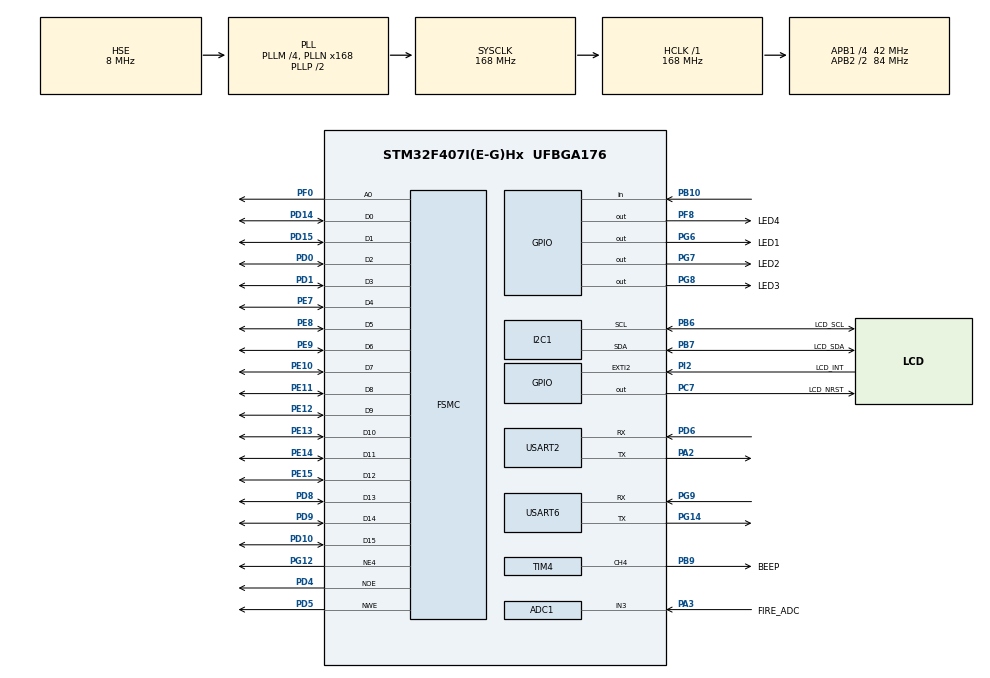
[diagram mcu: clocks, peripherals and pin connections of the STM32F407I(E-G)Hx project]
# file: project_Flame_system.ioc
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ADC1.Channel-1\#ChannelRegularConversion=ADC_CHANNEL_3
ADC1.NbrOfConversionFlag=1
ADC1.Rank-1\#ChannelRegularConversion=1
ADC1.SamplingTime-1\#ChannelRegularConversion=ADC_SAMPLETIME_3CYCLES
ADC1.master=1
FREERTOS.Tasks01=defaultTask,0,128,StartDefaultTask,Default,NULL,Dynamic,NULL,NULL
FREERTOS.Tasks02=lvglTask,2,1024,StartLvglTask,Default,NULL,Dynamic,NULL,NULL
FREERTOS.Tasks03=flameTask,3,512,StartFlameTask,Default,NULL,Dynamic,NULL,NULL
FREERTOS.Tasks04=cmdTask,4,1024,StartCmdTask,Default,NULL,Dynamic,NULL,NULL
FREERTOS.configUSE_NEWLIB_REENTRANT=1
FSMC.AddressSetupTime1=3
FSMC.BusTurnAroundDuration1=3
FSMC.DataSetupTime1=2
IWDG.Prescaler=IWDG_PRESCALER_256
IWDG.Reload=625
Mcu.Family=STM32F4
Mcu.Name=STM32F407I(E-G)Hx
Mcu.Package=UFBGA176
NVIC.EXTI2_IRQn=true\:3\:0\:false\:false\:true\:true\:true\:true\:true
NVIC.PriorityGroup=NVIC_PRIORITYGROUP_4
NVIC.TIM6_DAC_IRQn=true\:5\:0\:false\:false\:true\:true\:true\:true\:true
NVIC.TIM7_IRQn=true\:15\:0\:false\:false\:true\:false\:false\:true\:true
NVIC.TimeBase=TIM7_IRQn
NVIC.TimeBaseIP=TIM7
NVIC.USART2_IRQn=true\:5\:0\:false\:false\:true\:true\:true\:true\:true
PA2.Mode=Asynchronous
PA2.Signal=USART2_TX
PA3.GPIO_Label=FIRE_ADC
PA3.Signal=ADCx_IN3
PB10.Signal=GPIO_Input
PB6.GPIO_Label=LCD_SCL
PB6.Mode=I2C
PB6.Signal=I2C1_SCL
PB7.GPIO_Label=LCD_SDA
PB7.Mode=I2C
PB7.Signal=I2C1_SDA
PB9.GPIO_Label=BEEP
PB9.Signal=S_TIM4_CH4
PC7.GPIO_Label=LCD_NRST
PC7.Signal=GPIO_Output
PD0.Signal=FSMC_D2_DA2
PD1.Signal=FSMC_D3_DA3
PD10.Signal=FSMC_D15_DA15
PD14.Signal=FSMC_D0_DA0
PD15.Signal=FSMC_D1_DA1
PD4.Signal=FSMC_NOE
PD5.Signal=FSMC_NWE
PD6.Mode=Asynchronous
PD6.Signal=USART2_RX
PD8.Signal=FSMC_D13_DA13
PD9.Signal=FSMC_D14_DA14
PE10.Signal=FSMC_D7_DA7
PE11.Signal=FSMC_D8_DA8
PE12.Signal=FSMC_D9_DA9
PE13.Signal=FSMC_D10_DA10
PE14.Signal=FSMC_D11_DA11
PE15.Signal=FSMC_D12_DA12
PE7.Signal=FSMC_D4_DA4
PE8.Signal=FSMC_D5_DA5
PE9.Signal=FSMC_D6_DA6
PF0.Signal=FSMC_A0
PF8.GPIO_Label=LED4
PF8.Signal=GPIO_Output
PG12.Mode=NorPsramChipSelect4_1
PG12.Signal=FSMC_NE4
PG14.Mode=Asynchronous
PG14.Signal=USART6_TX
PG6.GPIO_Label=LED1
PG6.Signal=GPIO_Output
PG7.GPIO_Label=LED2
PG7.Signal=GPIO_Output
PG8.GPIO_Label=LED3
PG8.Signal=GPIO_Output
PG9.Mode=Asynchronous
PG9.Signal=USART6_RX
PH0-OSC_IN.Mode=HSE-External-Oscillator
PH0-OSC_IN.Signal=RCC_OSC_IN
PH1-OSC_OUT.Mode=HSE-External-Oscillator
PH1-OSC_OUT.Signal=RCC_OSC_OUT
PI2.GPIO_Label=LCD_INT
PI2.GPIO_ModeDefaultEXTI=GPIO_MODE_IT_FALLING
PI2.Signal=GPXTI2
ProjectManager.HeapSize=0x400
ProjectManager.StackSize=0x800
ProjectManager.TargetToolchain=STM32CubeIDE
RCC.48MHZClocksFreq_Value=84000000
RCC.AHBFreq_Value=168000000
RCC.APB1CLKDivider=RCC_HCLK_DIV4
RCC.APB1Freq_Value=42000000
RCC.APB1TimFreq_Value=84000000
RCC.APB2CLKDivider=RCC_HCLK_DIV2
RCC.APB2Freq_Value=84000000
RCC.APB2TimFreq_Value=168000000
RCC.CortexFreq_Value=168000000
RCC.HCLKFreq_Value=168000000
RCC.HSE_VALUE=8000000
RCC.HSI_VALUE=16000000
RCC.LSE_VALUE=32768
RCC.PLLM=4
RCC.PLLN=168
RCC.PLLSourceVirtual=RCC_PLLSOURCE_HSE
RCC.SYSCLKFreq_VALUE=168000000
RCC.SYSCLKSource=RCC_SYSCLKSOURCE_PLLCLK
RCC.VCOOutputFreq_Value=336000000
SH.ADCx_IN3.0=ADC1_IN3,IN3
SH.FSMC_A0.0=FSMC_A0,A0_1
SH.FSMC_D0_DA0.0=FSMC_D0,16b-d1
SH.FSMC_D10_DA10.0=FSMC_D10,16b-d1
SH.FSMC_D11_DA11.0=FSMC_D11,16b-d1
SH.FSMC_D12_DA12.0=FSMC_D12,16b-d1
SH.FSMC_D13_DA13.0=FSMC_D13,16b-d1
SH.FSMC_D14_DA14.0=FSMC_D14,16b-d1
SH.FSMC_D15_DA15.0=FSMC_D15,16b-d1
SH.FSMC_D1_DA1.0=FSMC_D1,16b-d1
SH.FSMC_D2_DA2.0=FSMC_D2,16b-d1
SH.FSMC_D3_DA3.0=FSMC_D3,16b-d1
SH.FSMC_D4_DA4.0=FSMC_D4,16b-d1
SH.FSMC_D5_DA5.0=FSMC_D5,16b-d1
SH.FSMC_D6_DA6.0=FSMC_D6,16b-d1
SH.FSMC_D7_DA7.0=FSMC_D7,16b-d1
SH.FSMC_D8_DA8.0=FSMC_D8,16b-d1
SH.FSMC_D9_DA9.0=FSMC_D9,16b-d1
SH.FSMC_NOE.0=FSMC_NOE,Lcd1
SH.FSMC_NWE.0=FSMC_NWE,Lcd1
SH.S_TIM4_CH4.0=TIM4_CH4,PWM Generation4 CH4
TIM4.AutoReloadPreload=TIM_AUTORELOAD_PRELOAD_ENABLE
TIM4.Channel-PWM\ Generation4\ CH4=TIM_CHANNEL_4
TIM4.Period=100
TIM4.Prescaler=83
TIM6.AutoReloadPreload=TIM_AUTORELOAD_PRELOAD_ENABLE
TIM6.Period=1000
TIM6.Prescaler=83
USART2.VirtualMode=VM_ASYNC
USART6.VirtualMode=VM_ASYNC
VP_FREERTOS_VS_CMSIS_V1.Mode=CMSIS_V1
VP_IWDG_VS_IWDG.Mode=IWDG_Activate
VP_SYS_VS_tim7.Mode=TIM7
VP_TIM6_VS_ClockSourceINT.Mode=Enable_Timer
board=custom

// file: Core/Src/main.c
/* USER CODE BEGIN Header */
/**
  ******************************************************************************
  * @file           : main.c
  * @brief          : Main program body
  ******************************************************************************
  * @attention
  *
  * Copyright (c) 2024 STMicroelectronics.
  * All rights reserved.
  *
  * This software is licensed under terms that can be found in the LICENSE file
  * in the root directory of this software component.
  * If no LICENSE file comes with this software, it is provided AS-IS.
  *
  ******************************************************************************
  */
/* USER CODE END Header */
#include "main.h"
#include "cmsis_os.h"
#include "adc.h"
#include "i2c.h"
#include "tim.h"
#include "usart.h"
#include "gpio.h"
#include "fsmc.h"
//#include "iwdg.h"

/* USER CODE BEGIN Includes */
#include "stdio.h"
#include "../LVGL/lvgl.h"
#include "../touch/lcd_touch.h"
#include "../UI/UI.h"
#include "../LVGL/porting/lv_port_disp.h"
#include "../LVGL/porting/lv_port_indev.h"
#include "../esp8266/esp8266.h"
#include "../App/app_onenet_mqtt.h"
#include "../Middlewares/EmbATlink/at_driver.h"
#include "../cJSON/cJSON.h"
/* USER CODE END Includes */

void SystemClock_Config(void);
void MX_FREERTOS_Init(void);

/* USER CODE BEGIN 0 */
__IO uint32_t I2CTimeout = I2C_Open_FLAG_TIMEOUT;

extern char CurrentMode;
extern struct ThresholdT_t Getthreshold;
extern char ThresholdCommit;

char recv_at[256] = {0};
char recv_at_cmd[256] = {0};
volatile uint8_t recv_finish = 0;
volatile uint32_t count = 0;
uint16_t flame_val;
uint16_t flame_valIO;
volatile uint8_t cmdflag = 0;
uint16_t buzzerCurrentstatus = 1;
volatile uint8_t mqttconnetState = NOT;
volatile uint8_t popup_dismissed = 0;
uint8_t *esp8266_rst = "AT+RST\r\n";

mqtt_info_t mqtt_info = {0};
/* USER CODE END 0 */

int main(void)
{

  /* USER CODE BEGIN 1 */
  uint8_t chip_id[5] = {0};
  HAL_StatusTypeDef ret = HAL_OK;
  uint8_t value = 0;
  /* USER CODE END 1 */

  /* MCU Configuration--------------------------------------------------------*/

  /* Reset of all peripherals, Initializes the Flash interface and the Systick. */
  HAL_Init();

  /* Configure the system clock */
  SystemClock_Config();

  /* Initialize all configured peripherals */
  MX_GPIO_Init();
  MX_I2C1_Init();
  MX_USART6_UART_Init();
  MX_FSMC_Init();
  MX_ADC1_Init();
  MX_TIM4_Init();
  MX_TIM6_Init();
  MX_USART2_UART_Init();
// MX_IWDG_Init();
  /* USER CODE BEGIN 2 */
  htim6.Init.Prescaler = 83;
  htim6.Init.Period = 1000;
  HAL_TIM_Base_Init(&htim6);
  printf("=== Flame System Booting ===\n");

  at_init();

  delay_init(168);
  lv_init();
  lv_port_disp_init();
  lv_port_indev_init();

  init_gt911(GT911_I2C_SLAVE);
  ret = gt911_read_data(GT_PID_REG, chip_id, 3);
  if (ret == HAL_OK) {
  }
  gt911_send_data(GT_GSTID_REG, &value, 1);

  UI_Init();
  lv_refr_now(NULL);

  __HAL_UART_ENABLE_IT(&huart2, UART_IT_IDLE);
  __HAL_UART_ENABLE_IT(&huart2, UART_IT_RXNE);
  __HAL_UART_CLEAR_IDLEFLAG(&huart2);

  HAL_TIM_Base_Start_IT(&htim6);
  /* USER CODE END 2 */

  /* Call init function for freertos objects (in cmsis_os2.c) */
  MX_FREERTOS_Init();

  /* Start scheduler */
  osKernelStart();

  /* We should never get here as control is now taken by the scheduler */

  /* Infinite loop */
  while (1)
  {

  }
}

void SystemClock_Config(void)
{
  RCC_OscInitTypeDef RCC_OscInitStruct = {0};
  RCC_ClkInitTypeDef RCC_ClkInitStruct = {0};

  /** Configure the main internal regulator output voltage
  */
  __HAL_RCC_PWR_CLK_ENABLE();
  __HAL_PWR_VOLTAGESCALING_CONFIG(PWR_REGULATOR_VOLTAGE_SCALE1);

  /** Initializes the RCC Oscillators according to the specified parameters
  * in the RCC_OscInitTypeDef structure.
  */
  RCC_OscInitStruct.OscillatorType = RCC_OSCILLATORTYPE_LSI|RCC_OSCILLATORTYPE_HSE;
  RCC_OscInitStruct.HSEState = RCC_HSE_ON;
  RCC_OscInitStruct.LSIState = RCC_LSI_ON;
  RCC_OscInitStruct.PLL.PLLState = RCC_PLL_ON;
  RCC_OscInitStruct.PLL.PLLSource = RCC_PLLSOURCE_HSE;
  RCC_OscInitStruct.PLL.PLLM = 4;
  RCC_OscInitStruct.PLL.PLLN = 168;
  RCC_OscInitStruct.PLL.PLLP = RCC_PLLP_DIV2;
  RCC_OscInitStruct.PLL.PLLQ = 4;
  if (HAL_RCC_OscConfig(&RCC_OscInitStruct) != HAL_OK)
  {
    Error_Handler();
  }

  /** Initializes the CPU, AHB and APB buses clocks
  */
  RCC_ClkInitStruct.ClockType = RCC_CLOCKTYPE_HCLK|RCC_CLOCKTYPE_SYSCLK
                              |RCC_CLOCKTYPE_PCLK1|RCC_CLOCKTYPE_PCLK2;
  RCC_ClkInitStruct.SYSCLKSource = RCC_SYSCLKSOURCE_PLLCLK;
  RCC_ClkInitStruct.AHBCLKDivider = RCC_SYSCLK_DIV1;
  RCC_ClkInitStruct.APB1CLKDivider = RCC_HCLK_DIV4;
  RCC_ClkInitStruct.APB2CLKDivider = RCC_HCLK_DIV2;

  if (HAL_RCC_ClockConfig(&RCC_ClkInitStruct, FLASH_LATENCY_5) != HAL_OK)
  {
    Error_Handler();
  }
}

/* USER CODE BEGIN 4 */
#ifdef __GNUC__
#define PUTCHAR_PROTOTYPE  int __io_putchar(int ch)

PUTCHAR_PROTOTYPE
{
    HAL_UART_Transmit(&huart6,(uint8_t*)&ch,1,HAL_MAX_DELAY);
    return ch;
}
#endif

void UART2_RxIRQHandler(void)
{
  if (__HAL_UART_GET_FLAG(&huart2, UART_FLAG_RXNE) == SET) {
    uint8_t ch = (uint8_t)(huart2.Instance->DR & 0xFF);
    at_uart_recv_handler(AT_LUN_ESP8266, &ch, 1);

    if (ch == '>') {
      recv_finish = 1;
    }
    HAL_UART_Receive_IT(&huart2, (uint8_t *)&ch, 1);
  }

  if (__HAL_UART_GET_FLAG(&huart2, UART_FLAG_IDLE) == SET) {
    recv_finish = 1;
    if (strstr(at_get_recv_buffer(AT_LUN_ESP8266), "MQTTDISCONNECTED") != NULL) {
      mqttconnetState = DISCONNECTED;
    }
    if (strstr(at_get_recv_buffer(AT_LUN_ESP8266), "MQTTSUBRECV") != NULL) {
      cmdflag = 1;
      char *recv_buf = at_get_recv_buffer(AT_LUN_ESP8266);
      size_t len = strnlen(recv_buf, sizeof(recv_at_cmd) - 1);
      memcpy(recv_at_cmd, recv_buf, len + 1);
      recv_at_cmd[len] = '\0';
    }
    __HAL_UART_CLEAR_IDLEFLAG(&huart2);
  }
}

void Set_GPIO_MODER(GPIO_TypeDef* GPIOx, uint32_t moder, uint16_t PinNumber)
{
  assert_param(IS_GPIO_ALL_INSTANCE(GPIOx));
  assert_param(IS_GPIO_MODE(moder));

  uint32_t reg = GPIOx->MODER;
  reg &= ~((GPIO_MODER_MODE0_Msk) << (PinNumber * 2U));
  reg |= ((moder) << (PinNumber * 2U));
  GPIOx->MODER = reg;
}

int send_command(char *command, int cmd_len, char *response, char *response_command, int timeout)
{
    recv_finish = 0;
    at_clear_recv_buffer(AT_LUN_ESP8266);
    memset(recv_at, 0, sizeof(recv_at));

    if (cmd_len > 0) {
        HAL_UART_Transmit(&huart2, (uint8_t *)command, cmd_len, HAL_MAX_DELAY);
        printf("Send: %s", command);
    }

    uint32_t tickstart = HAL_GetTick();
    while ((HAL_GetTick() - tickstart) < timeout) {
        if (recv_finish == 1) {
            recv_finish = 0;
            char *recv_buf = at_get_recv_buffer(AT_LUN_ESP8266);
            size_t len = strnlen(recv_buf, sizeof(recv_at) - 1);
            memcpy(recv_at, recv_buf, len + 1);
            recv_at[len] = '\0';
            printf("Recv: %s\n", recv_at);

            if (response != NULL && strstr(recv_at, response) != NULL) {
                return 0;
            }
            if (response_command != NULL && strstr(recv_at, response_command) != NULL) {
                return 0;
            }
            if (response == NULL && response_command == NULL) {
                return 0;
            }
            return -1;
        }
        HAL_Delay(10);
    }
    printf("Timeout!\n");
    return -1;
}

char* analysis_cmd(char* cmd, char* delim, int count)
{
    static char result[256] = {0};
    char *token = strtok(cmd, delim);
    int i = 0;

    while (token != NULL) {
        if (i == count) {
            strncpy(result, token, sizeof(result) - 1);
            result[sizeof(result) - 1] = '\0';
            return result;
        }
        token = strtok(NULL, delim);
        i++;
    }
    return NULL;
}

int Esp8266CheckState(void)
{
    char send_at[32] = {0};

    strcpy(send_at, "AT\r\n");
    if (send_command(send_at, strlen(send_at), "OK", NULL, 2000) != 0) {
        strcpy(send_at, "AT+RST\r\n");
        send_command(send_at, strlen(send_at), "OK", NULL, 2000);
        HAL_Delay(1000);

        strcpy(send_at, "AT\r\n");
        if (send_command(send_at, strlen(send_at), "OK", NULL, 2000) != 0) {
            return -1;
        }
    }
    return 0;
}
/* USER CODE END 4 */

void HAL_TIM_PeriodElapsedCallback(TIM_HandleTypeDef *htim)
{
  if (htim->Instance == TIM7) {
    HAL_IncTick();
  }
}

void Error_Handler(void)
{
  __disable_irq();
  while (1)
  {
  }
}

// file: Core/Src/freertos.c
/* USER CODE BEGIN Header */
/**
  ******************************************************************************
  * File Name          : freertos.c
  * Description        : Code for freertos applications
  ******************************************************************************
  * @attention
  *
  * Copyright (c) 2026 STMicroelectronics.
  * All rights reserved.
  *
  * This software is licensed under terms that can be found in the LICENSE file
  * in the root directory of this software component.
  * If no LICENSE file comes with this software, it is provided AS-IS.
  *
  ******************************************************************************
  */
/* USER CODE END Header */

#include "FreeRTOS.h"
#include "task.h"
#include "main.h"
#include "cmsis_os.h"

/* USER CODE BEGIN Includes */
#include "../LVGL/lvgl.h"
#include "../touch/lcd_touch.h"
#include "../UI/UI.h"
#include "../esp8266/esp8266.h"
#include "../App/app_onenet_mqtt.h"
#include "../Middlewares/EmbATlink/at_driver.h"
#include "../cJSON/cJSON.h"
#include "stdio.h"
#include "stdlib.h"
#include "adc.h"
#include "tim.h"
#include "usart.h"
#include "gpio.h"
/* USER CODE END Includes */

/* USER CODE BEGIN PD */
#define FLAME_SAMPLE_INTERVAL_MS 200
#define FLAME_FILTER_SIZE 5
#define FLAME_UPDATE_THRESHOLD 5

#define LED_ON_THRESHOLD_0 500
#define LED_ON_THRESHOLD_1 1024
#define LED_ON_THRESHOLD_2 2048
#define LED_ON_THRESHOLD_3 3072
/* USER CODE END PD */

/* USER CODE BEGIN Variables */
osMutexId lvglMutexHandle;

extern char CurrentMode;
extern struct ThresholdT_t Getthreshold;
extern char ThresholdCommit;
extern lv_obj_t *FlamestateLabel;
extern lv_obj_t *buzzerstateLabel;
extern lv_obj_t *SliderLabel;
extern lv_obj_t *buzzerSlider;
extern lv_obj_t *MqttConnectState;
extern lv_obj_t *MqttConnectBtn;
extern lv_obj_t *Msgbox;
extern lv_obj_t *ADType;
extern lv_obj_t *IOType;
extern lv_obj_t *ThresholdADvalpanel;
extern lv_obj_t *ThresholdIOvalpanel;
extern lv_obj_t *UsrCtl;
extern lv_obj_t *SmartCtl;
extern lv_obj_t *ThresholdSureBtn;
extern lv_obj_t *ThresholdCancelBtn;

extern uint16_t flame_val;
extern uint16_t flame_valIO;
extern volatile uint8_t cmdflag;
extern uint16_t buzzerCurrentstatus;
extern volatile uint8_t mqttconnetState;
extern uint8_t touch_event;

extern ADC_HandleTypeDef hadc1;
extern TIM_HandleTypeDef htim;

uint16_t flame_val_filtered;
uint16_t flame_val_last_display;
uint16_t flame_history[FLAME_FILTER_SIZE];
uint8_t flame_history_idx;
/* USER CODE END Variables */
osThreadId defaultTaskHandle;
osThreadId lvglTaskHandle;
osThreadId flameTaskHandle;

/* USER CODE BEGIN FunctionPrototypes */
void StartDefaultTask(void const * argument);
void StartLvglTask(void const * argument);
void StartFlameTask(void const * argument);
void UpdateLEDsByFlameValue(uint16_t value);
void TimerUpdateData(void);
void Command_Parsing(void);
uint8_t onenet_mqtt_user_handle(onenet_pub_data_t *data);
/* USER CODE END FunctionPrototypes */

void StartDefaultTask(void const * argument);
void StartLvglTask(void const * argument);

void MX_FREERTOS_Init(void); /* (MISRA C 2004 rule 8.1) */

/* GetIdleTaskMemory prototype (linked to static allocation support) */
void vApplicationGetIdleTaskMemory( StaticTask_t **ppxIdleTaskTCBBuffer, StackType_t **ppxIdleTaskStackBuffer, uint32_t *pulIdleTaskStackSize );

/* USER CODE BEGIN GET_IDLE_TASK_MEMORY */
static StaticTask_t xIdleTaskTCBBuffer;
static StackType_t xIdleStack[configMINIMAL_STACK_SIZE];

void vApplicationGetIdleTaskMemory( StaticTask_t **ppxIdleTaskTCBBuffer, StackType_t **ppxIdleTaskStackBuffer, uint32_t *pulIdleTaskStackSize )
{
  *ppxIdleTaskTCBBuffer = &xIdleTaskTCBBuffer;
  *ppxIdleTaskStackBuffer = &xIdleStack[0];
  *pulIdleTaskStackSize = configMINIMAL_STACK_SIZE;
}
/* USER CODE END GET_IDLE_TASK_MEMORY */

void MX_FREERTOS_Init(void) {

  /* USER CODE BEGIN RTOS_MUTEX */
  osMutexDef(lvglMutex);
  lvglMutexHandle = osMutexCreate(osMutex(lvglMutex));
  if (lvglMutexHandle == NULL) {
    Error_Handler();
  }
  /* USER CODE END RTOS_MUTEX */

  /* Create the thread(s) */
  /* definition and creation of defaultTask */
  osThreadDef(defaultTask, StartDefaultTask, osPriorityNormal, 0, 256);
  defaultTaskHandle = osThreadCreate(osThread(defaultTask), NULL);

  /* USER CODE BEGIN RTOS_THREADS */
  osThreadDef(lvglTask, StartLvglTask, osPriorityAboveNormal, 0, 4096);
  lvglTaskHandle = osThreadCreate(osThread(lvglTask), NULL);

  osThreadDef(flameTask, StartFlameTask, osPriorityNormal, 0, 1024);
  flameTaskHandle = osThreadCreate(osThread(flameTask), NULL);
  /* USER CODE END RTOS_THREADS */

}

void StartDefaultTask(void const * argument)
{
  for(;;)
  {
    osDelay(1);
  }
}

/* USER CODE BEGIN Application */
void StartLvglTask(void const * argument)
{
  static uint8_t initialReportDone = 0;
  if (lvglMutexHandle == NULL) {
    for(;;) {
      osDelay(100);
    }
  }
  for(;;)
  {
    gt911_scanning_event();

    osMutexWait(lvglMutexHandle, osWaitForever);
    lv_timer_handler();

    static uint8_t last_mqttState = NOT;
    if (popup_dismissed == 0 && mqttconnetState == DISCONNECTED) {
      mqttconnetState = NOT;
      lv_obj_t *text = lv_msgbox_get_text(Msgbox);
      lv_label_set_text(text, "MQTT DISCONNECTED");
      lv_obj_clear_flag(Msgbox, LV_OBJ_FLAG_HIDDEN);
      lv_label_set_text(MqttConnectState, "未连接");
      lv_obj_align_to(MqttConnectState, MqttConnectBtn, LV_ALIGN_OUT_BOTTOM_MID, 0, 6);
      lv_obj_add_flag(MqttConnectBtn, LV_OBJ_FLAG_CLICKABLE);
    }
    if (mqttconnetState == CONNECTED && last_mqttState != CONNECTED) {
      lv_obj_add_flag(Msgbox, LV_OBJ_FLAG_HIDDEN);
      popup_dismissed = 0;
    }
    last_mqttState = mqttconnetState;
    osMutexRelease(lvglMutexHandle);

    osDelay(5);
  }
}

void StartFlameTask(void const * argument)
{
  for(;;)
  {
    TimerUpdateData();
    UpdateLEDsByFlameValue(flame_val);
    if (cmdflag == 1) {
      cmdflag = 0;
      Command_Parsing();
    }
    osDelay(200);
  }
}

void UpdateLEDsByFlameValue(uint16_t value)
{
  HAL_GPIO_WritePin(GPIOG, LED1_Pin, GPIO_PIN_RESET);
  HAL_GPIO_WritePin(GPIOG, LED2_Pin, GPIO_PIN_RESET);
  HAL_GPIO_WritePin(GPIOG, LED3_Pin, GPIO_PIN_RESET);
  HAL_GPIO_WritePin(LED4_GPIO_Port, LED4_Pin, GPIO_PIN_RESET);

  if (value >= LED_ON_THRESHOLD_3) {
    HAL_GPIO_WritePin(GPIOG, LED1_Pin, GPIO_PIN_SET);
    HAL_GPIO_WritePin(GPIOG, LED2_Pin, GPIO_PIN_SET);
    HAL_GPIO_WritePin(GPIOG, LED3_Pin, GPIO_PIN_SET);
    HAL_GPIO_WritePin(LED4_GPIO_Port, LED4_Pin, GPIO_PIN_SET);
  } else if (value >= LED_ON_THRESHOLD_2) {
    HAL_GPIO_WritePin(GPIOG, LED1_Pin, GPIO_PIN_SET);
    HAL_GPIO_WritePin(GPIOG, LED2_Pin, GPIO_PIN_SET);
    HAL_GPIO_WritePin(GPIOG, LED3_Pin, GPIO_PIN_SET);
  } else if (value >= LED_ON_THRESHOLD_1) {
    HAL_GPIO_WritePin(GPIOG, LED1_Pin, GPIO_PIN_SET);
    HAL_GPIO_WritePin(GPIOG, LED2_Pin, GPIO_PIN_SET);
  } else if (value > LED_ON_THRESHOLD_0) {
    HAL_GPIO_WritePin(GPIOG, LED1_Pin, GPIO_PIN_SET);
  }
}

void TimerUpdateData(void)
{
  uint8_t IsSmartMode;

  if ((CurrentMode == SMART) && (ThresholdCommit == 1)) {
    IsSmartMode = 1;
  } else {
    IsSmartMode = 0;
  }

  if (Getthreshold.AD_OR_IO == AD)
  {
    HAL_ADC_Start(&hadc1);
    if (HAL_OK == HAL_ADC_PollForConversion(&hadc1, HAL_MAX_DELAY))
    {
      uint16_t raw_val = HAL_ADC_GetValue(&hadc1);

      flame_history[flame_history_idx] = raw_val;
      flame_history_idx = (flame_history_idx + 1) % FLAME_FILTER_SIZE;

      uint32_t sum = 0;
      for (uint8_t i = 0; i < FLAME_FILTER_SIZE; i++) {
        sum += flame_history[i];
      }
      flame_val_filtered = sum / FLAME_FILTER_SIZE;
      flame_val = flame_val_filtered;

      if (abs(flame_val_filtered - flame_val_last_display) >= FLAME_UPDATE_THRESHOLD)
      {
        osMutexWait(lvglMutexHandle, osWaitForever);
        lv_label_set_text_fmt(FlamestateLabel, "火焰传感器:%d", flame_val_filtered);
        osMutexRelease(lvglMutexHandle);
        flame_val_last_display = flame_val_filtered;
      }
    }
    if (CurrentMode == SMART) {
      if (flame_val >= Getthreshold.buzzerOnlevel) {
        buzzerCurrentstatus = 2000;
      }
      if (flame_val <= Getthreshold.buzzerofflevel) {
        buzzerCurrentstatus = 1;
      }
    }
  }
  else if (Getthreshold.AD_OR_IO == IO)
  {
    GPIO_PinState PinState = HAL_GPIO_ReadPin(GPIOB, GPIO_PIN_10);
    if (PinState == GPIO_PIN_SET) {
      osMutexWait(lvglMutexHandle, osWaitForever);
      lv_label_set_text(FlamestateLabel, "火焰传感器:有火焰");
      osMutexRelease(lvglMutexHandle);
      flame_valIO = 1;
      flame_val = 4095;
      if (CurrentMode == SMART) {
        buzzerCurrentstatus = 2000;
      }
    }
    else if (PinState == GPIO_PIN_RESET)
    {
      osMutexWait(lvglMutexHandle, osWaitForever);
      lv_label_set_text(FlamestateLabel, "火焰传感器:无火焰");
      osMutexRelease(lvglMutexHandle);
      flame_valIO = 0;
      flame_val = 0;
      if (CurrentMode == SMART) {
        buzzerCurrentstatus = 1;
      }
    }
  }

  static uint16_t last_buzzer_status = 0;
  if (IsSmartMode && buzzerCurrentstatus != last_buzzer_status) {
    HAL_TIM_PWM_Stop(&htim, TIM_CHANNEL_1);
    htim.Instance->ARR = 1000000 / buzzerCurrentstatus;
    if (buzzerCurrentstatus > 20) {
      __HAL_TIM_SetCompare(&htim, TIM_CHANNEL_1, 1000000 / buzzerCurrentstatus / 2);
      osMutexWait(lvglMutexHandle, osWaitForever);
      lv_label_set_text(buzzerstateLabel, "报警器状态:打开");
      osMutexRelease(lvglMutexHandle);
    } else {
      __HAL_TIM_SetCompare(&htim, TIM_CHANNEL_1, 0);
      osMutexWait(lvglMutexHandle, osWaitForever);
      lv_label_set_text(buzzerstateLabel, "报警器状态:关闭");
      osMutexRelease(lvglMutexHandle);
    }
    osMutexWait(lvglMutexHandle, osWaitForever);
    lv_slider_set_value(buzzerSlider, buzzerCurrentstatus, LV_ANIM_OFF);
    lv_label_set_text_fmt(SliderLabel, "%dHz", buzzerCurrentstatus);
    osMutexRelease(lvglMutexHandle);
    HAL_TIM_PWM_Start(&htim, TIM_CHANNEL_1);
    last_buzzer_status = buzzerCurrentstatus;
  }

  if (mqttconnetState == CONNECTED)
  {
    static uint16_t upload_tick = 0;

    onenet_data[0].value.f32_val = (float)flame_val;
    onenet_data[1].value.i32_val = (int32_t)buzzerCurrentstatus;
    onenet_data[2].value.bool_val = (CurrentMode == USR) ? 1 : 0;
    onenet_data[3].value.bool_val = (Getthreshold.AD_OR_IO == IO) ? 1 : 0;

    if (++upload_tick >= 25) {  // 200ms*25=5秒定时上传
      onenet_mqtt_publish_post_data(onenet_data, ONENET_DATA_NUM);
      upload_tick = 0;
      // 上传时同步更新LCD，确保显示一致
      osMutexWait(lvglMutexHandle, osWaitForever);
      lv_label_set_text_fmt(FlamestateLabel, "火焰传感器:%d", (int)flame_val);
      lv_slider_set_value(buzzerSlider, buzzerCurrentstatus, LV_ANIM_OFF);
      lv_label_set_text_fmt(SliderLabel, "%dHz", buzzerCurrentstatus);
      osMutexRelease(lvglMutexHandle);
      flame_val_last_display = flame_val;
    }
  }
}

uint8_t onenet_mqtt_user_handle(onenet_pub_data_t *data)
{
  if (strcmp(data->identifier, "beep") == 0)
  {
    int buzzercmd = data->value.u32_val;
    buzzerCurrentstatus = buzzercmd;
    HAL_TIM_PWM_Stop(&htim, TIM_CHANNEL_1);
    htim.Instance->ARR = 1000000 / buzzercmd;
    if (buzzercmd > 20) {
      __HAL_TIM_SetCompare(&htim, TIM_CHANNEL_1, 1000000 / buzzercmd / 2);
      osMutexWait(lvglMutexHandle, osWaitForever);
      lv_label_set_text(buzzerstateLabel, "报警器状态:打开");
      osMutexRelease(lvglMutexHandle);
    } else {
      __HAL_TIM_SetCompare(&htim, TIM_CHANNEL_1, 0);
      osMutexWait(lvglMutexHandle, osWaitForever);
      lv_label_set_text(buzzerstateLabel, "报警器状态:关闭");
      osMutexRelease(lvglMutexHandle);
    }
    osMutexWait(lvglMutexHandle, osWaitForever);
    lv_slider_set_value(buzzerSlider, buzzercmd, LV_ANIM_OFF);
    lv_label_set_text_fmt(SliderLabel, "%dHz", buzzercmd);
    osMutexRelease(lvglMutexHandle);
    HAL_TIM_PWM_Start(&htim, TIM_CHANNEL_1);
  }

  if (strcmp(data->identifier, "aiuser") == 0)
  {
    osMutexWait(lvglMutexHandle, osWaitForever);
    if (data->value.bool_val == 1) {
      CurrentMode = USR;
      lv_obj_add_state(UsrCtl, LV_STATE_CHECKED);
      lv_obj_clear_state(SmartCtl, LV_STATE_CHECKED);
      lv_obj_add_flag(SmartCtl, LV_OBJ_FLAG_CLICKABLE);
      lv_obj_clear_flag(UsrCtl, LV_OBJ_FLAG_CLICKABLE);
      lv_obj_clear_state(buzzerSlider, LV_STATE_DISABLED);
      lv_obj_add_state(ThresholdSureBtn, LV_STATE_DISABLED);
      lv_obj_add_state(ThresholdCancelBtn, LV_STATE_DISABLED);
    } else {
      CurrentMode = SMART;
      lv_obj_add_state(SmartCtl, LV_STATE_CHECKED);
      lv_obj_clear_state(UsrCtl, LV_STATE_CHECKED);
      lv_obj_add_flag(UsrCtl, LV_OBJ_FLAG_CLICKABLE);
      lv_obj_clear_flag(SmartCtl, LV_OBJ_FLAG_CLICKABLE);
      lv_obj_add_state(buzzerSlider, LV_STATE_DISABLED);
      lv_obj_clear_state(ThresholdSureBtn, LV_STATE_DISABLED);
      lv_obj_clear_state(ThresholdCancelBtn, LV_STATE_DISABLED);
    }
    osMutexRelease(lvglMutexHandle);
    HAL_TIM_PWM_Stop(&htim, TIM_CHANNEL_1);
    htim.Instance->ARR = 1000000;
    __HAL_TIM_SetCompare(&htim, TIM_CHANNEL_1, 0);
    HAL_TIM_PWM_Start(&htim, TIM_CHANNEL_1);
    buzzerCurrentstatus = 1;
  }

  if (strcmp(data->identifier, "ADIO") == 0)
  {
    if (data->value.bool_val == 1) {
      // true = IO 触发
      lv_obj_add_state(IOType, LV_STATE_CHECKED);
      lv_obj_clear_state(ADType, LV_STATE_CHECKED);
      Getthreshold.AD_OR_IO = IO;
      lv_obj_add_flag(ThresholdADvalpanel, LV_OBJ_FLAG_HIDDEN);
      lv_obj_clear_flag(ThresholdIOvalpanel, LV_OBJ_FLAG_HIDDEN);
    } else {
      // false = AD 触发
      lv_obj_add_state(ADType, LV_STATE_CHECKED);
      lv_obj_clear_state(IOType, LV_STATE_CHECKED);
      Getthreshold.AD_OR_IO = AD;
      lv_obj_add_flag(ThresholdIOvalpanel, LV_OBJ_FLAG_HIDDEN);
      lv_obj_clear_flag(ThresholdADvalpanel, LV_OBJ_FLAG_HIDDEN);
    }
  }

  return 0;
}

void Command_Parsing(void)
{
  uint8_t ret = 0;
  onenet_mqtt_topic_data_t onenet_topic_data = {0};
  onenet_mqtt_propertySet_t onenet_propertySet = {0};

  char *str = at_get_recv_buffer(AT_LUN_ESP8266);
  if (str == NULL || str[0] == '\0') return;

  ret = onenet_mqtt_get_topic_data((char *)mqtt_info.subscribe_topic_set, str, &onenet_topic_data);
  if (ret == 0)
  {
    onenet_mqtt_topic_log(&onenet_topic_data);
    ret = onenet_mqtt_parse_propertySet_topic(onenet_topic_data.json_data, &onenet_propertySet);
    if (ret == 0)
    {
      ret = onenet_mqtt_user_handle(&onenet_propertySet.data);
      onenet_mqtt_response_topic(onenet_propertySet.msg_id, 200, "success");
    }
  }

  ret = onenet_mqtt_get_topic_data((char *)mqtt_info.subscribe_topic_post, str, &onenet_topic_data);
  if (ret == 0)
    onenet_mqtt_topic_log(&onenet_topic_data);

  at_clear_recv_buffer(AT_LUN_ESP8266);
}
/* USER CODE END Application */
